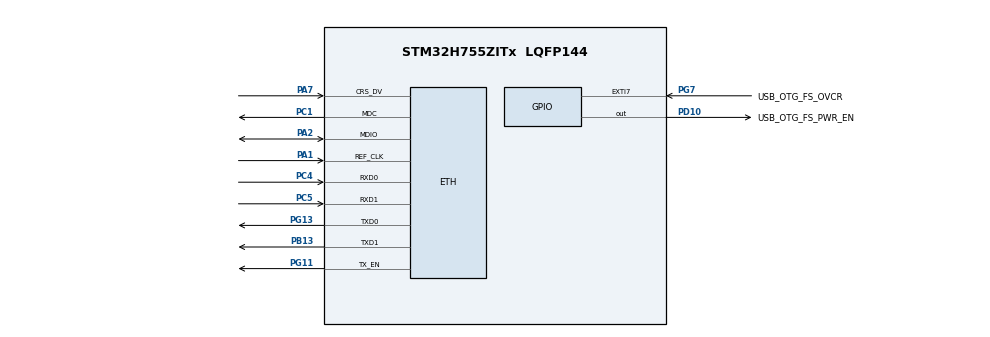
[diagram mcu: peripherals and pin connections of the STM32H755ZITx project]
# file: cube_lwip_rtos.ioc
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CORTEX_M4.AccessPermission-Cortex_Memory_Protection_Unit_Region1_Settings=MPU_REGION_FULL_ACCESS
CORTEX_M4.AccessPermission-Cortex_Memory_Protection_Unit_Region2_Settings=MPU_REGION_FULL_ACCESS
CORTEX_M4.BaseAddress-Cortex_Memory_Protection_Unit_Region0_Settings=0x10000000
CORTEX_M4.BaseAddress-Cortex_Memory_Protection_Unit_Region1_Settings=0x10040000
CORTEX_M4.BaseAddress-Cortex_Memory_Protection_Unit_Region2_Settings=0x08100000
CORTEX_M4.DisableExec-Cortex_Memory_Protection_Unit_Region0_Settings=MPU_INSTRUCTION_ACCESS_DISABLE
CORTEX_M4.DisableExec-Cortex_Memory_Protection_Unit_Region1_Settings=MPU_INSTRUCTION_ACCESS_ENABLE
CORTEX_M4.Enable-Cortex_Memory_Protection_Unit_Region0_Settings=MPU_REGION_ENABLE
CORTEX_M4.Enable-Cortex_Memory_Protection_Unit_Region1_Settings=MPU_REGION_ENABLE
CORTEX_M4.Enable-Cortex_Memory_Protection_Unit_Region2_Settings=MPU_REGION_ENABLE
CORTEX_M4.IsBufferable-Cortex_Memory_Protection_Unit_Region1_Settings=MPU_ACCESS_BUFFERABLE
CORTEX_M4.IsShareable-Cortex_Memory_Protection_Unit_Region0_Settings=MPU_ACCESS_SHAREABLE
CORTEX_M4.IsShareable-Cortex_Memory_Protection_Unit_Region1_Settings=MPU_ACCESS_SHAREABLE
CORTEX_M4.MPU_Control=MPU_PRIVILEGED_DEFAULT
CORTEX_M4.Size-Cortex_Memory_Protection_Unit_Region0_Settings=MPU_REGION_SIZE_256KB
CORTEX_M4.Size-Cortex_Memory_Protection_Unit_Region1_Settings=MPU_REGION_SIZE_32KB
CORTEX_M4.Size-Cortex_Memory_Protection_Unit_Region2_Settings=MPU_REGION_SIZE_1MB
CORTEX_M4.TypeExtField-Cortex_Memory_Protection_Unit_Region1_Settings=MPU_TEX_LEVEL0
CORTEX_M7.AccessPermission_S-Cortex_Memory_Protection_Unit_Region1_Settings_S=MPU_REGION_FULL_ACCESS
CORTEX_M7.AccessPermission_S-Cortex_Memory_Protection_Unit_Region2_Settings_S=MPU_REGION_FULL_ACCESS
CORTEX_M7.AccessPermission_S-Cortex_Memory_Protection_Unit_Region3_Settings_S=MPU_REGION_NO_ACCESS
CORTEX_M7.BaseAddress_S-Cortex_Memory_Protection_Unit_Region1_Settings_S=0x30000000
CORTEX_M7.BaseAddress_S-Cortex_Memory_Protection_Unit_Region2_Settings_S=0x30020000
CORTEX_M7.BaseAddress_S-Cortex_Memory_Protection_Unit_Region3_Settings_S=0x30040000
CORTEX_M7.CPU_DCache=Enabled
CORTEX_M7.CPU_ICache=Enabled
CORTEX_M7.DisableExec_S-Cortex_Memory_Protection_Unit_Region1_Settings_S=MPU_INSTRUCTION_ACCESS_DISABLE
CORTEX_M7.DisableExec_S-Cortex_Memory_Protection_Unit_Region2_Settings_S=MPU_INSTRUCTION_ACCESS_DISABLE
CORTEX_M7.DisableExec_S-Cortex_Memory_Protection_Unit_Region3_Settings_S=MPU_INSTRUCTION_ACCESS_DISABLE
CORTEX_M7.Enable_S-Cortex_Memory_Protection_Unit_Region1_Settings_S=MPU_REGION_ENABLE
CORTEX_M7.Enable_S-Cortex_Memory_Protection_Unit_Region2_Settings_S=MPU_REGION_ENABLE
CORTEX_M7.Enable_S-Cortex_Memory_Protection_Unit_Region3_Settings_S=MPU_REGION_ENABLE
CORTEX_M7.Enable_S-Cortex_Memory_Protection_Unit_Region4_Settings_S=__NULL
CORTEX_M7.IsBufferable_S-Cortex_Memory_Protection_Unit_Region2_Settings_S=MPU_ACCESS_BUFFERABLE
CORTEX_M7.IsBufferable_S-Cortex_Memory_Protection_Unit_Region3_Settings_S=MPU_ACCESS_NOT_BUFFERABLE
CORTEX_M7.IsShareable_S-Cortex_Memory_Protection_Unit_Region1_Settings_S=MPU_ACCESS_NOT_SHAREABLE
CORTEX_M7.IsShareable_S-Cortex_Memory_Protection_Unit_Region2_Settings_S=MPU_ACCESS_SHAREABLE
CORTEX_M7.IsShareable_S-Cortex_Memory_Protection_Unit_Region3_Settings_S=MPU_ACCESS_NOT_SHAREABLE
CORTEX_M7.Size_S-Cortex_Memory_Protection_Unit_Region1_Settings_S=MPU_REGION_SIZE_128KB
CORTEX_M7.Size_S-Cortex_Memory_Protection_Unit_Region2_Settings_S=MPU_REGION_SIZE_4KB
CORTEX_M7.Size_S-Cortex_Memory_Protection_Unit_Region3_Settings_S=MPU_REGION_SIZE_32KB
CORTEX_M7.TypeExtField_S-Cortex_Memory_Protection_Unit_Region1_Settings_S=MPU_TEX_LEVEL1
CORTEX_M7.TypeExtField_S-Cortex_Memory_Protection_Unit_Region2_Settings_S=MPU_TEX_LEVEL0
CORTEX_M7.TypeExtField_S-Cortex_Memory_Protection_Unit_Region3_Settings_S=MPU_TEX_LEVEL0
CORTEX_M7.default_mode_Activation=1
CortexM4.IPs=FATFS_M4\:I,FREERTOS_M4\:I,IWDG2\:I,RCC,WWDG2\:I,DMA,BDMA,MDMA,NVIC2\:I,ETH,USART3,DEBUG,PDM2PCM_M4\:I,PWR,RESMGR_UTILITY,SYS_M4\:I,USB_DEVICE_M4\:I,USB_HOST_M4\:I,CORTEX_M4\:I,GPIO,OPENAMP_M4\:I,VREFBUF,NUCLEO-H755ZI-Q
CortexM7.IPs=FATFS_M7\:I,FREERTOS_M7\:I,IWDG1\:I,RCC\:I,WWDG1\:I,DMA\:I,BDMA\:I,MDMA\:I,NVIC1\:I,ETH\:I,USART3\:I,USB_OTG_FS\:I,USB_OTG_FS1\:I,SYS\:I,CORTEX_M7\:I,DEBUG\:I,PDM2PCM_M7\:I,PWR\:I,RESMGR_UTILITY\:I,USB_DEVICE_M7\:I,USB_HOST_M7\:I,GPIO\:I,OPENAMP_M7\:I,VREFBUF\:I,NUCLEO-H755ZI-Q\:I,TIM6\:I,LWIP\:I,RAMECC\:I,TIM17\:I
ETH.ETH_RX_DESC_CNT=32
ETH.ETH_TX_DESC_CNT=32
ETH.MediaInterface=HAL_ETH_RMII_MODE
ETH.RxBufferAddress=0x30020800
ETH.TxDescAddress=0x30020400
FREERTOS_M7.Tasks01=defaultTask,24,512,StartDefaultTask,Default,NULL,Dynamic,NULL,NULL
FREERTOS_M7.configCHECK_FOR_STACK_OVERFLOW=0
FREERTOS_M7.configGENERATE_RUN_TIME_STATS=1
FREERTOS_M7.configMINIMAL_STACK_SIZE=256
FREERTOS_M7.configRECORD_STACK_HIGH_ADDRESS=1
FREERTOS_M7.configTIMER_TASK_STACK_DEPTH=1024
FREERTOS_M7.configTOTAL_HEAP_SIZE=61440
FREERTOS_M7.configUSE_NEWLIB_REENTRANT=1
FREERTOS_M7.configUSE_STATS_FORMATTING_FUNCTIONS=1
LWIP.API_LIB_DEBUG=LWIP_DBG_OFF
LWIP.API_MSG_DEBUG=LWIP_DBG_OFF
LWIP.BSP.number=1
LWIP.CHECKSUM_BY_HARDWARE=1
LWIP.DEFAULT_ACCEPTMBOX_SIZE=8
LWIP.DEFAULT_RAW_RECVMBOX_SIZE=16
LWIP.DEFAULT_TCP_RECVMBOX_SIZE=16
LWIP.DEFAULT_THREAD_STACKSIZE=2048
LWIP.DEFAULT_UDP_RECVMBOX_SIZE=16
LWIP.ETH_RX_BUFFER_CNT=64
LWIP.IP_ADDRESS=192.168.000.010
LWIP.IP_DEBUG=LWIP_DBG_OFF
LWIP.LWIP_DBG_TYPES_ON=LWIP_DBG_OFF
LWIP.LWIP_DHCP=0
LWIP.LWIP_RAM_HEAP_POINTER=0x30000000
LWIP.LWIP_STATS=1
LWIP.LWIP_WND_SCALE=1
LWIP.MEMP_DEBUG=LWIP_DBG_OFF
LWIP.MEMP_NUM_PBUF=64
LWIP.MEMP_NUM_TCP_SEG=64
LWIP.MEM_DEBUG=LWIP_DBG_OFF
LWIP.MEM_SIZE=131048
LWIP.NETMASK_ADDRESS=255.255.255.000
LWIP.PBUF_DEBUG=LWIP_DBG_OFF
LWIP.PBUF_POOL_BUFSIZE=1514
LWIP.PBUF_POOL_SIZE=48
LWIP.RAW_DEBUG=LWIP_DBG_OFF
LWIP.SOCKETS_DEBUG=LWIP_DBG_OFF
LWIP.TCPIP_DEBUG=LWIP_DBG_OFF
LWIP.TCPIP_MBOX_SIZE=64
LWIP.TCPIP_THREAD_STACKSIZE=2048
LWIP.TCP_CWND_DEBUG=LWIP_DBG_OFF
LWIP.TCP_DEBUG=LWIP_DBG_OFF
LWIP.TCP_INPUT_DEBUG=LWIP_DBG_OFF
LWIP.TCP_MSS=1460
LWIP.TCP_OUTPUT_DEBUG=LWIP_DBG_OFF
LWIP.TCP_QLEN_DEBUG=LWIP_DBG_OFF
LWIP.TCP_RCV_SCALE=2
LWIP.TCP_RTO_DEBUG=LWIP_DBG_OFF
LWIP.TCP_SND_BUF=23360
LWIP.TCP_SND_QUEUELEN=64
LWIP.TCP_WND=23360
LWIP.TCP_WND_DEBUG=LWIP_DBG_OFF
LWIP.Version=v2.2.1_Cube
LWIP0.BSP.STBoard=false
LWIP0.BSP.api=BSP_COMPONENT_DRIVER
LWIP0.BSP.component=LAN8742
LWIP0.BSP.instance=LAN8742
LWIP0.BSP.name=Driver_PHY
LWIP0.BSP.semaphore=S_LAN8742
LWIP0.BSP.solution=LAN8742
Mcu.Family=STM32H7
Mcu.Name=STM32H755ZITx
Mcu.Package=LQFP144
NUCLEO-H755ZI-Q.BUTTON=1
NUCLEO-H755ZI-Q.LD1=true
NUCLEO-H755ZI-Q.LD2=true
NUCLEO-H755ZI-Q.LD3=true
NUCLEO-H755ZI-Q.VCP=true
NVIC1.ECC_IRQn=true\:5\:0\:false\:false\:true\:true\:true\:true\:true
NVIC1.ETH_IRQn=true\:5\:0\:false\:false\:true\:true\:true\:true\:true
NVIC1.EXTI15_10_IRQn=true\:5\:0\:false\:false\:true\:true\:false\:true\:true
NVIC1.PriorityGroup=NVIC_PRIORITYGROUP_4
NVIC1.TIM17_IRQn=true\:5\:0\:false\:false\:true\:true\:true\:true\:true
NVIC1.TIM6_DAC_IRQn=true\:15\:0\:false\:false\:true\:false\:false\:true\:true
NVIC1.TimeBase=TIM6_DAC_IRQn
NVIC1.TimeBaseIP=TIM6
NVIC2.PriorityGroup=NVIC_PRIORITYGROUP_4
PA1.GPIO_Speed_Default_HIGH=GPIO_SPEED_FREQ_VERY_HIGH
PA1.Mode=RMII
PA1.PinAttribute=CortexM7
PA1.Signal=ETH_REF_CLK
PA11.PinAttribute=CortexM7
PA11.Signal=USB_OTG_FS_DM
PA12.PinAttribute=CortexM7
PA12.Signal=USB_OTG_FS_DP
PA2.GPIO_Speed_Default_HIGH=GPIO_SPEED_FREQ_VERY_HIGH
PA2.Mode=RMII
PA2.PinAttribute=CortexM7
PA2.Signal=ETH_MDIO
PA7.GPIO_Speed_Default_HIGH=GPIO_SPEED_FREQ_VERY_HIGH
PA7.Mode=RMII
PA7.PinAttribute=CortexM7
PA7.Signal=ETH_CRS_DV
PA8.PinAttribute=CortexM7
PA8.Signal=USB_OTG_FS_SOF
PA9.PinAttribute=CortexM7
PA9.Signal=USB_OTG_FS_VBUS
PB13.GPIO_Speed_Default_HIGH=GPIO_SPEED_FREQ_VERY_HIGH
PB13.Mode=RMII
PB13.PinAttribute=CortexM7
PB13.Signal=ETH_TXD1
PC1.GPIO_Speed_Default_HIGH=GPIO_SPEED_FREQ_VERY_HIGH
PC1.Mode=RMII
PC1.PinAttribute=CortexM7
PC1.Signal=ETH_MDC
PC14-OSC32_IN\ (OSC32_IN).PinAttribute=Free
PC14-OSC32_IN\ (OSC32_IN).Signal=RCC_OSC32_IN
PC15-OSC32_OUT\ (OSC32_OUT).PinAttribute=Free
PC15-OSC32_OUT\ (OSC32_OUT).Signal=RCC_OSC32_OUT
PC4.GPIO_Speed_Default_HIGH=GPIO_SPEED_FREQ_VERY_HIGH
PC4.Mode=RMII
PC4.PinAttribute=CortexM7
PC4.Signal=ETH_RXD0
PC5.GPIO_Speed_Default_HIGH=GPIO_SPEED_FREQ_VERY_HIGH
PC5.Mode=RMII
PC5.PinAttribute=CortexM7
PC5.Signal=ETH_RXD1
PD10.GPIO_Label=USB_OTG_FS_PWR_EN
PD10.PinAttribute=Free
PD10.Signal=GPIO_Output
PD8.Signal=USART3_TX
PD9.Signal=USART3_RX
PG11.GPIO_Speed_Default_HIGH=GPIO_SPEED_FREQ_VERY_HIGH
PG11.Mode=RMII
PG11.PinAttribute=CortexM7
PG11.Signal=ETH_TX_EN
PG13.GPIO_Speed_Default_HIGH=GPIO_SPEED_FREQ_VERY_HIGH
PG13.Mode=RMII
PG13.PinAttribute=CortexM7
PG13.Signal=ETH_TXD0
PG7.GPIO_Label=USB_OTG_FS_OVCR
PG7.PinAttribute=Free
PG7.Signal=GPXTI7
PH0-OSC_IN\ (PH0).PinAttribute=Free
PH0-OSC_IN\ (PH0).Signal=RCC_OSC_IN
PH1-OSC_OUT\ (PH1).PinAttribute=Free
PH1-OSC_OUT\ (PH1).Signal=RCC_OSC_OUT
ProjectManager.HeapSize=M4-0x200,M7-0x200
ProjectManager.StackSize=M4-0x400,M7-0x400
ProjectManager.TargetToolchain=STM32CubeIDE
RAMECC.Instance-RAMECC1_Monitor1=RAMECC1_Monitor1
RAMECC.Instance-RAMECC2_Monitor1=RAMECC2_Monitor1
RAMECC.Instance-RAMECC2_Monitor2=RAMECC2_Monitor2
RAMECC.Instance-RAMECC2_Monitor3=RAMECC2_Monitor3
RAMECC.Instance-RAMECC2_Monitor4=RAMECC2_Monitor4
RCC.ADCFreq_Value=129000000
RCC.APB1Freq_Value=100000000
RCC.APB2Freq_Value=100000000
RCC.APB3Freq_Value=100000000
RCC.APB4Freq_Value=100000000
RCC.CortexFreq_Value=400000000
RCC.D1PPRE=RCC_APB3_DIV2
RCC.D2PPRE1=RCC_APB1_DIV2
RCC.D2PPRE2=RCC_APB2_DIV2
RCC.D3PPRE=RCC_APB4_DIV2
RCC.DIVM1=4
RCC.DIVN1=50
RCC.DIVQ1=5
RCC.HCLKFreq_Value=200000000
RCC.HPRE=RCC_HCLK_DIV2
RCC.PLL2FRACN=0
RCC.PLL3FRACN=0
RCC.PLLFRACN=0
RCC.PWR_Regulator_Voltage_Scale=PWR_REGULATOR_VOLTAGE_SCALE1
RCC.SYSCLKFreq_VALUE=400000000
RCC.SYSCLKSource=RCC_SYSCLKSOURCE_PLLCLK
RCC.SupplySource=PWR_DIRECT_SMPS_SUPPLY
RCC.USBFreq_Value=160000000
TIM17.Period=1999
VP_FREERTOS_M7_VS_CMSIS_V2.Mode=CMSIS_V2
VP_LWIP_VS_Enabled.Mode=Enabled
VP_NUCLEO-H755ZI-Q_VS_BSP_COMMON.Mode=COMMON
VP_RAMECC_VS_D1_1.Mode=RAMECC1_Monitor1
VP_RAMECC_VS_D2_1.Mode=RAMECC2_Monitor1
VP_RAMECC_VS_D2_2.Mode=RAMECC2_Monitor2
VP_RAMECC_VS_D2_3.Mode=RAMECC2_Monitor3
VP_RAMECC_VS_D2_4.Mode=RAMECC2_Monitor4
VP_SYS_M4_VS_Systick.Mode=SysTick
VP_SYS_VS_tim6.Mode=TIM6
VP_TIM17_VS_ClockSourceINT.Mode=Enable_Timer
board=NUCLEO-H755ZI-Q

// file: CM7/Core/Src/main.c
/* USER CODE BEGIN Header */
/**
 ******************************************************************************
 * @file           : main.c
 * @brief          : Main program body
 ******************************************************************************
 * @attention
 *
 * Copyright (c) 2026 STMicroelectronics.
 * All rights reserved.
 *
 * This software is licensed under terms that can be found in the LICENSE file
 * in the root directory of this software component.
 * If no LICENSE file comes with this software, it is provided AS-IS.
 *
 ******************************************************************************
 */
/* USER CODE END Header */
#include "main.h"
#include "FreeRTOS.h"
#include "cmsis_os2.h"
#include "lwip.h"

/* USER CODE BEGIN Includes */
#include <string.h>

#include "settings.h"
#include "tests.h"
#if CURRENT_TEST == TCP_LOOPBACK_MULTITASK
#include "queue.h"
#endif
/* USER CODE END Includes */

/* USER CODE BEGIN PD */

/* DUAL_CORE_BOOT_SYNC_SEQUENCE: Define for dual core boot synchronization    */
/*                             demonstration code based on hardware semaphore */
/* This define is present in both CM7/CM4 projects                            */
/* To comment when developping/debugging on a single core                     */
#define DUAL_CORE_BOOT_SYNC_SEQUENCE

#if defined(DUAL_CORE_BOOT_SYNC_SEQUENCE)
#ifndef HSEM_ID_0
#define HSEM_ID_0 (0U) /* HW semaphore 0*/
#endif
#endif /* DUAL_CORE_BOOT_SYNC_SEQUENCE */

/* USER CODE END PD */

COM_InitTypeDef BspCOMInit;

RAMECC_HandleTypeDef hramecc1_m1;
RAMECC_HandleTypeDef hramecc2_m1;
RAMECC_HandleTypeDef hramecc2_m2;
RAMECC_HandleTypeDef hramecc2_m3;
RAMECC_HandleTypeDef hramecc2_m4;

TIM_HandleTypeDef htim17;

/* Definitions for defaultTask */
osThreadId_t defaultTaskHandle;
const osThreadAttr_t defaultTask_attributes = { .name = "defaultTask" , .stack_size = 512 * 4 , .priority = (osPriority_t) osPriorityNormal , };
/* USER CODE BEGIN PV */
#if CURRENT_TEST == TCP_LOOPBACK_MULTITASK
osThreadId_t tx_task_handle;
const osThreadAttr_t tx_task_attributes = { .name = "tx_task" , .stack_size = 256 * 4 , .priority = (osPriority_t) osPriorityNormal1 , };

osMessageQueueId_t network_message_free;
osMessageQueueId_t network_message_rx_to_tx;
#endif

/* USER CODE END PV */

void SystemClock_Config( void );
static void MPU_Config( void );
static void MX_GPIO_Init( void );
static void MX_RAMECC_Init( void );
static void MX_TIM17_Init( void );
void StartDefaultTask( void* argument );

/* USER CODE BEGIN PFP */
#if CURRENT_TEST == TCP_LOOPBACK_MULTITASK
void StartTxTask( void* argument );
#endif
/* USER CODE END PFP */

/* USER CODE BEGIN 0 */
/**
 * @brief  Single or double ECC error detected callback.
 *   hramecc : RAMECC handle
 * @retval None
 */
void HAL_RAMECC_DetectErrorCallback( RAMECC_HandleTypeDef* hramecc )
{
	uint32_t FAR = HAL_RAMECC_GetFailingAddress( hramecc );
//	printf( "FAR = %x" , FAR );
//
//	if( hramecc == &hramecc1_m1 )
//		printf( "    hramecc1_m1" );
//	else if( hramecc == &hramecc2_m1 )
//		printf( "    hramecc2_m1" );
//	else if( hramecc == &hramecc2_m2 )
//		printf( "    hramecc2_m2" );
//	else if( hramecc == &hramecc2_m3 )
//		printf( "    hramecc2_m3" );
//	else if( hramecc == &hramecc2_m4 )
//		printf( "    hramecc2_m4" );
//
//	if( ( HAL_RAMECC_GetRAMECCError( hramecc ) & HAL_RAMECC_SINGLEERROR_DETECTED ) != 0U )
//		printf( "    single error" );
//
//	if( ( HAL_RAMECC_GetRAMECCError( hramecc ) & HAL_RAMECC_DOUBLEERROR_DETECTED ) != 0U )
//		printf( "    double error" );
//
//	printf("\n");

	hramecc->RAMECCErrorCode = HAL_RAMECC_NO_ERROR;
}
/* USER CODE END 0 */

int main( void )
{

	/* USER CODE BEGIN Boot_Mode_Sequence_0 */
#if defined(DUAL_CORE_BOOT_SYNC_SEQUENCE)
#endif /* DUAL_CORE_BOOT_SYNC_SEQUENCE */
	/* USER CODE END Boot_Mode_Sequence_0 */

	/* MPU Configuration--------------------------------------------------------*/
	MPU_Config();

	/* Enable the CPU Cache */

	/* Enable I-Cache---------------------------------------------------------*/
	SCB_EnableICache();

	/* Enable D-Cache---------------------------------------------------------*/
	SCB_EnableDCache();

	/* USER CODE BEGIN Boot_Mode_Sequence_1 */
#if defined(DUAL_CORE_BOOT_SYNC_SEQUENCE)
	/* Wait until CPU2 boots and enters in stop mode or timeout*/
	while( ( __HAL_RCC_GET_FLAG(RCC_FLAG_D2CKRDY) != RESET ) );
#endif /* DUAL_CORE_BOOT_SYNC_SEQUENCE */
	/* USER CODE END Boot_Mode_Sequence_1 */
	/* MCU Configuration--------------------------------------------------------*/

	/* Reset of all peripherals, Initializes the Flash interface and the Systick. */
	HAL_Init();

	/* Configure the system clock */
	SystemClock_Config();
	/* USER CODE BEGIN Boot_Mode_Sequence_2 */
#if defined(DUAL_CORE_BOOT_SYNC_SEQUENCE)
	/* When system initialization is finished, Cortex-M7 will release Cortex-M4 by means of
	 HSEM notification */
	/*HW semaphore Clock enable*/
	__HAL_RCC_HSEM_CLK_ENABLE( );
	/*Take HSEM */
	HAL_HSEM_FastTake( HSEM_ID_0 );
	/*Release HSEM in order to notify the CPU2(CM4)*/
	HAL_HSEM_Release( HSEM_ID_0 , 0 );
	/* wait until CPU2 wakes up from stop mode */
	while( ( __HAL_RCC_GET_FLAG(RCC_FLAG_D2CKRDY) == RESET ) );
#endif /* DUAL_CORE_BOOT_SYNC_SEQUENCE */
	/* USER CODE END Boot_Mode_Sequence_2 */

	/* Initialize all configured peripherals */
	MX_GPIO_Init();
	MX_RAMECC_Init();
	MX_TIM17_Init();

	/* Init scheduler */
	osKernelInitialize();

	/* USER CODE BEGIN RTOS_QUEUES */
#if CURRENT_TEST == TCP_LOOPBACK_MULTITASK
	// initialize queues
	network_message_free = osMessageQueueNew( NUM_NETWORK_MESSAGES , sizeof(network_message_t*) , NULL );
	network_message_rx_to_tx = osMessageQueueNew( NUM_NETWORK_MESSAGES , sizeof(network_message_t*) , NULL );

	for( int i = 0 ; i < NUM_NETWORK_MESSAGES ; i++ )
	{
		network_message_t* message = &network_message_pool[i];
		osMessageQueuePut( network_message_free , &message , 0 , 0 ); // this calls xQueueSendToBack, maybe we need xQueueSend?
	}

	vQueueAddToRegistry( network_message_free , "network_msg_free" );
	vQueueAddToRegistry( network_message_rx_to_tx , "network_msg_rx_to_tx" );
#endif
	/* USER CODE END RTOS_QUEUES */

	/* Create the thread(s) */
	/* creation of defaultTask */
	defaultTaskHandle = osThreadNew( StartDefaultTask , NULL , &defaultTask_attributes );

	/* USER CODE BEGIN RTOS_THREADS */
#if CURRENT_TEST == TCP_LOOPBACK_MULTITASK
	tx_task_handle = osThreadNew( StartTxTask , NULL , &tx_task_attributes );
#endif

	/* USER CODE END RTOS_THREADS */

	/* Initialize leds */
	BSP_LED_Init( LED_GREEN );
	BSP_LED_Init( LED_YELLOW );
	BSP_LED_Init( LED_RED );

	/* Initialize USER push-button, will be used to trigger an interrupt each time it's pressed.*/
	BSP_PB_Init( BUTTON_USER , BUTTON_MODE_EXTI );

	/* Initialize COM1 port (115200, 8 bits (7-bit data + 1 stop bit), no parity */
	BspCOMInit.BaudRate = 115200;
	BspCOMInit.WordLength = COM_WORDLENGTH_8B;
	BspCOMInit.StopBits = COM_STOPBITS_1;
	BspCOMInit.Parity = COM_PARITY_NONE;
	BspCOMInit.HwFlowCtl = COM_HWCONTROL_NONE;
	if( BSP_COM_Init( COM1 , &BspCOMInit ) != BSP_ERROR_NONE )
	{
		Error_Handler();
	}

	/* Start scheduler */
	osKernelStart();

	/* We should never get here as control is now taken by the scheduler */

	/* Infinite loop */
	while( 1 )
	{

	}
}

void SystemClock_Config( void )
{
	RCC_OscInitTypeDef RCC_OscInitStruct = { 0 };
	RCC_ClkInitTypeDef RCC_ClkInitStruct = { 0 };

	/** Supply configuration update enable
	 */
	HAL_PWREx_ConfigSupply( PWR_DIRECT_SMPS_SUPPLY );

	/** Configure the main internal regulator output voltage
	 */
	__HAL_PWR_VOLTAGESCALING_CONFIG( PWR_REGULATOR_VOLTAGE_SCALE1 );

	while( !__HAL_PWR_GET_FLAG( PWR_FLAG_VOSRDY ) )
	{
	}

	/** Initializes the RCC Oscillators according to the specified parameters
	 * in the RCC_OscInitTypeDef structure.
	 */
	RCC_OscInitStruct.OscillatorType = RCC_OSCILLATORTYPE_HSI;
	RCC_OscInitStruct.HSIState = RCC_HSI_DIV1;
	RCC_OscInitStruct.HSICalibrationValue = RCC_HSICALIBRATION_DEFAULT;
	RCC_OscInitStruct.PLL.PLLState = RCC_PLL_ON;
	RCC_OscInitStruct.PLL.PLLSource = RCC_PLLSOURCE_HSI;
	RCC_OscInitStruct.PLL.PLLM = 4;
	RCC_OscInitStruct.PLL.PLLN = 50;
	RCC_OscInitStruct.PLL.PLLP = 2;
	RCC_OscInitStruct.PLL.PLLQ = 5;
	RCC_OscInitStruct.PLL.PLLR = 2;
	RCC_OscInitStruct.PLL.PLLRGE = RCC_PLL1VCIRANGE_3;
	RCC_OscInitStruct.PLL.PLLVCOSEL = RCC_PLL1VCOWIDE;
	RCC_OscInitStruct.PLL.PLLFRACN = 0;
	if( HAL_RCC_OscConfig( &RCC_OscInitStruct ) != HAL_OK )
	{
		Error_Handler();
	}

	/** Initializes the CPU, AHB and APB buses clocks
	 */
	RCC_ClkInitStruct.ClockType = RCC_CLOCKTYPE_HCLK | RCC_CLOCKTYPE_SYSCLK | RCC_CLOCKTYPE_PCLK1 | RCC_CLOCKTYPE_PCLK2
	        | RCC_CLOCKTYPE_D3PCLK1 | RCC_CLOCKTYPE_D1PCLK1;
	RCC_ClkInitStruct.SYSCLKSource = RCC_SYSCLKSOURCE_PLLCLK;
	RCC_ClkInitStruct.SYSCLKDivider = RCC_SYSCLK_DIV1;
	RCC_ClkInitStruct.AHBCLKDivider = RCC_HCLK_DIV2;
	RCC_ClkInitStruct.APB3CLKDivider = RCC_APB3_DIV2;
	RCC_ClkInitStruct.APB1CLKDivider = RCC_APB1_DIV2;
	RCC_ClkInitStruct.APB2CLKDivider = RCC_APB2_DIV2;
	RCC_ClkInitStruct.APB4CLKDivider = RCC_APB4_DIV2;

	if( HAL_RCC_ClockConfig( &RCC_ClkInitStruct , FLASH_LATENCY_2 ) != HAL_OK )
	{
		Error_Handler();
	}
}

static void MX_RAMECC_Init( void )
{

	/** Initialize RAMECC1 M1 : AXI SRAM
	 */
	hramecc1_m1.Instance = RAMECC1_Monitor1;
	if( HAL_RAMECC_Init( &hramecc1_m1 ) != HAL_OK )
	{
		Error_Handler();
	}

	/** Initialize RAMECC2 M1 : SRAM1_0
	 */
	hramecc2_m1.Instance = RAMECC2_Monitor1;
	if( HAL_RAMECC_Init( &hramecc2_m1 ) != HAL_OK )
	{
		Error_Handler();
	}

	/** Initialize RAMECC2 M2 SRAM1_1
	 */
	hramecc2_m2.Instance = RAMECC2_Monitor2;
	if( HAL_RAMECC_Init( &hramecc2_m2 ) != HAL_OK )
	{
		Error_Handler();
	}

	/** Initialize RAMECC2 M3 : SRAM2_0
	 */
	hramecc2_m3.Instance = RAMECC2_Monitor3;
	if( HAL_RAMECC_Init( &hramecc2_m3 ) != HAL_OK )
	{
		Error_Handler();
	}

	/** Initialize RAMECC2 M4 : SRAM2_1
	 */
	hramecc2_m4.Instance = RAMECC2_Monitor4;
	if( HAL_RAMECC_Init( &hramecc2_m4 ) != HAL_OK )
	{
		Error_Handler();
	}
	/* USER CODE BEGIN RAMECC_Init 2 */

	/* Enable monitor notifications */
	/* ECC single error notification and ECC double error notification */
	if( HAL_RAMECC_EnableNotification( &hramecc1_m1 , ( RAMECC_IT_MONITOR_SINGLEERR_R | RAMECC_IT_MONITOR_DOUBLEERR_R ) ) != HAL_OK )
	{
		Error_Handler();
	}
	if( HAL_RAMECC_EnableNotification( &hramecc2_m1 , ( RAMECC_IT_MONITOR_SINGLEERR_R | RAMECC_IT_MONITOR_DOUBLEERR_R ) ) != HAL_OK )
	{
		Error_Handler();
	}
	if( HAL_RAMECC_EnableNotification( &hramecc2_m2 , ( RAMECC_IT_MONITOR_SINGLEERR_R | RAMECC_IT_MONITOR_DOUBLEERR_R ) ) != HAL_OK )
	{
		Error_Handler();
	}
	if( HAL_RAMECC_EnableNotification( &hramecc2_m3 , ( RAMECC_IT_MONITOR_SINGLEERR_R | RAMECC_IT_MONITOR_DOUBLEERR_R ) ) != HAL_OK )
	{
		Error_Handler();
	}
	if( HAL_RAMECC_EnableNotification( &hramecc2_m4 , ( RAMECC_IT_MONITOR_SINGLEERR_R | RAMECC_IT_MONITOR_DOUBLEERR_R ) ) != HAL_OK )
	{
		Error_Handler();
	}

	/* Start Monitor : Enable latching failing information
	 Failing information : * Failing address
	 * Failing Data Low
	 * Failing Data High
	 * Hamming bits injected
	 */
	if( HAL_RAMECC_StartMonitor( &hramecc1_m1 ) != HAL_OK )
	{
		Error_Handler();
	}
	if( HAL_RAMECC_StartMonitor( &hramecc2_m1 ) != HAL_OK )
	{
		Error_Handler();
	}
	if( HAL_RAMECC_StartMonitor( &hramecc2_m2 ) != HAL_OK )
	{
		Error_Handler();
	}
	if( HAL_RAMECC_StartMonitor( &hramecc2_m3 ) != HAL_OK )
	{
		Error_Handler();
	}
	if( HAL_RAMECC_StartMonitor( &hramecc2_m4 ) != HAL_OK )
	{
		Error_Handler();
	}

	HAL_NVIC_SetPriority( ECC_IRQn , 5 , 0 );
	HAL_NVIC_EnableIRQ( ECC_IRQn );
	/* USER CODE END RAMECC_Init 2 */

}

static void MX_TIM17_Init( void )
{

	htim17.Instance = TIM17;
	htim17.Init.Prescaler = 0;
	htim17.Init.CounterMode = TIM_COUNTERMODE_UP;
	htim17.Init.Period = 1999;
	htim17.Init.ClockDivision = TIM_CLOCKDIVISION_DIV1;
	htim17.Init.RepetitionCounter = 0;
	htim17.Init.AutoReloadPreload = TIM_AUTORELOAD_PRELOAD_DISABLE;
	if( HAL_TIM_Base_Init( &htim17 ) != HAL_OK )
	{
		Error_Handler();
	}

}

static void MX_GPIO_Init( void )
{
	GPIO_InitTypeDef GPIO_InitStruct = { 0 };

	/* GPIO Ports Clock Enable */
	__HAL_RCC_GPIOC_CLK_ENABLE( );
	__HAL_RCC_GPIOA_CLK_ENABLE( );
	__HAL_RCC_GPIOB_CLK_ENABLE( );
	__HAL_RCC_GPIOG_CLK_ENABLE( );

	/*Configure GPIO pins : PA8 PA11 PA12 */
	GPIO_InitStruct.Pin = GPIO_PIN_8 | GPIO_PIN_11 | GPIO_PIN_12;
	GPIO_InitStruct.Mode = GPIO_MODE_AF_PP;
	GPIO_InitStruct.Pull = GPIO_NOPULL;
	GPIO_InitStruct.Speed = GPIO_SPEED_FREQ_LOW;
	GPIO_InitStruct.Alternate = GPIO_AF10_OTG1_FS;
	HAL_GPIO_Init( GPIOA , &GPIO_InitStruct );

}

/* USER CODE BEGIN 4 */

void BSP_PB_Callback( Button_TypeDef Button )
{
	if( Button == BUTTON_USER )
	{

	}
}

#if ( CURRENT_TEST == TCP_LOOPBACK_MULTITASK )
void StartTxTask( void* argument )
{
	UNUSED( argument );

	tcp_tx();
	osThreadExit();
}
#endif
/* USER CODE END 4 */

void StartDefaultTask( void* argument )
{
	/* init code for LWIP */
	MX_LWIP_Init();
	/* USER CODE BEGIN 5 */
	UNUSED( argument );

	osDelay( 100 );

#if CURRENT_TEST == UDP_TX_BENCHMARK
	udp_tx_benchmark();
#elif CURRENT_TEST == TCP_LOOPBACK
	tcp_set_up();
#if LWIP_IMPLEMENTATION == SOCKET_API
	tcp_loopback();
#endif
#elif CURRENT_TEST == TCP_LOOPBACK_MULTITASK
	tcp_set_up();
	tcp_rx();
#endif

	osThreadExit();
	/* USER CODE END 5 */
}

/* MPU Configuration */

void MPU_Config( void )
{
	MPU_Region_InitTypeDef MPU_InitStruct = { 0 };

	/* Disables the MPU */
	HAL_MPU_Disable();

	/** Initializes and configures the Region and the memory to be protected
	 */
	MPU_InitStruct.Enable = MPU_REGION_ENABLE;
	MPU_InitStruct.Number = MPU_REGION_NUMBER0;
	MPU_InitStruct.BaseAddress = 0x0;
	MPU_InitStruct.Size = MPU_REGION_SIZE_4GB;
	MPU_InitStruct.SubRegionDisable = 0x87;
	MPU_InitStruct.TypeExtField = MPU_TEX_LEVEL0;
	MPU_InitStruct.AccessPermission = MPU_REGION_NO_ACCESS;
	MPU_InitStruct.DisableExec = MPU_INSTRUCTION_ACCESS_DISABLE;
	MPU_InitStruct.IsShareable = MPU_ACCESS_SHAREABLE;
	MPU_InitStruct.IsCacheable = MPU_ACCESS_NOT_CACHEABLE;
	MPU_InitStruct.IsBufferable = MPU_ACCESS_NOT_BUFFERABLE;

	HAL_MPU_ConfigRegion( &MPU_InitStruct );

	/** Initializes and configures the Region and the memory to be protected
	 */
	MPU_InitStruct.Number = MPU_REGION_NUMBER1;
	MPU_InitStruct.BaseAddress = 0x30000000;
	MPU_InitStruct.Size = MPU_REGION_SIZE_128KB;
	MPU_InitStruct.SubRegionDisable = 0x0;
	MPU_InitStruct.TypeExtField = MPU_TEX_LEVEL1;
	MPU_InitStruct.AccessPermission = MPU_REGION_FULL_ACCESS;
	MPU_InitStruct.IsShareable = MPU_ACCESS_NOT_SHAREABLE;

	HAL_MPU_ConfigRegion( &MPU_InitStruct );

	/** Initializes and configures the Region and the memory to be protected
	 */
	MPU_InitStruct.Number = MPU_REGION_NUMBER2;
	MPU_InitStruct.BaseAddress = 0x30020000;
	MPU_InitStruct.Size = MPU_REGION_SIZE_4KB;
	MPU_InitStruct.TypeExtField = MPU_TEX_LEVEL0;
	MPU_InitStruct.IsShareable = MPU_ACCESS_SHAREABLE;
	MPU_InitStruct.IsBufferable = MPU_ACCESS_BUFFERABLE;

	HAL_MPU_ConfigRegion( &MPU_InitStruct );

	/** Initializes and configures the Region and the memory to be protected
	 */
	MPU_InitStruct.Number = MPU_REGION_NUMBER3;
	MPU_InitStruct.BaseAddress = 0x30040000;
	MPU_InitStruct.Size = MPU_REGION_SIZE_32KB;
	MPU_InitStruct.AccessPermission = MPU_REGION_NO_ACCESS;
	MPU_InitStruct.IsShareable = MPU_ACCESS_NOT_SHAREABLE;
	MPU_InitStruct.IsBufferable = MPU_ACCESS_NOT_BUFFERABLE;

	HAL_MPU_ConfigRegion( &MPU_InitStruct );
	/* Enables the MPU */
	HAL_MPU_Enable( MPU_PRIVILEGED_DEFAULT );

}

void HAL_TIM_PeriodElapsedCallback( TIM_HandleTypeDef* htim )
{
	if( htim->Instance == TIM6 )
	{
		HAL_IncTick();
	}
}

void Error_Handler( void )
{
	__disable_irq();
	while( 1 )
	{
	}
}

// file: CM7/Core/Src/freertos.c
/* USER CODE BEGIN Header */
/**
  ******************************************************************************
  * File Name          : freertos.c
  * Description        : Code for freertos applications
  ******************************************************************************
  * @attention
  *
  * Copyright (c) 2026 STMicroelectronics.
  * All rights reserved.
  *
  * This software is licensed under terms that can be found in the LICENSE file
  * in the root directory of this software component.
  * If no LICENSE file comes with this software, it is provided AS-IS.
  *
  ******************************************************************************
  */
/* USER CODE END Header */

#include "FreeRTOS.h"
#include "task.h"
#include "main.h"

/* Hook prototypes */
void configureTimerForRunTimeStats(void);
unsigned long getRunTimeCounterValue(void);

/* USER CODE BEGIN 1 */
/* Functions needed when configGENERATE_RUN_TIME_STATS is on */
__weak void configureTimerForRunTimeStats(void)
{
	extern volatile unsigned long ulHighFrequencyTimerTicks;
    ulHighFrequencyTimerTicks = 0;
	extern TIM_HandleTypeDef htim17;
	HAL_TIM_Base_Start_IT(&htim17);
}

extern volatile unsigned long ulHighFrequencyTimerTicks;
__weak unsigned long getRunTimeCounterValue(void)
{
	return ulHighFrequencyTimerTicks;
}
/* USER CODE END 1 */
